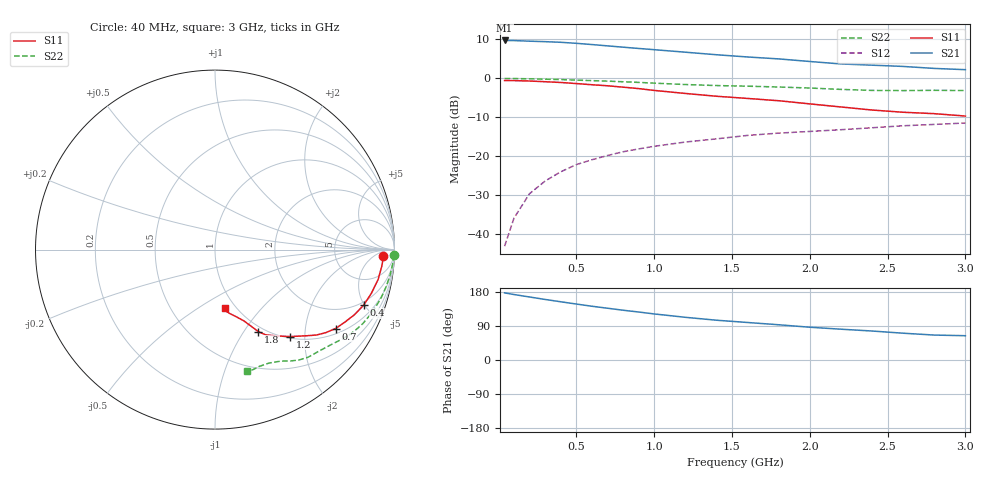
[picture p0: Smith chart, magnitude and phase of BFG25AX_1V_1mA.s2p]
! Filename:  BFG25AXD.S2P  Version:  2.0
! Philips part #: BFG25A/X  Date: May 1990
! Bias condition: Vce=1V, Ic=1mA
#  MHz  S  MA  R  50
! Freq  S11  S21  S12  S22  !GUM [dB]
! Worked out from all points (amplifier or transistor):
!   21 points, 40 MHz to 3 GHz, reference 50 ohm
!   highest |S21| = 9.7 dB at 40 MHz (marker M1)
!   |S21| within 3 dB of that: start of sweep to 1.196 GHz
!   unconditionally stable (mu >= 1): nowhere
!   at 300 MHz: K = 0.14, MSG = 17.9 dB, |S12| = -26.4 dB
!   at 1 GHz: K = 0.43, MSG = 12.4 dB, |S12| = -17.5 dB
!   at 3 GHz: K = 0.87, MSG = 6.8 dB, |S12| = -11.5 dB
!   lowest NFmin = 1.70 dB at 500 MHz
!   S11 on the Smith chart (normalised r, x): 40 MHz: 23, -14; 400 MHz: 1.74, -4.97; 700 MHz: 1.18, -2.92; 1.2 GHz: 1.03, -1.69; 1.8 GHz: 0.93, -1.16; 3 GHz: 0.90, -0.65
40  0.938 -2.2  3.065 177.1  0.007 85.2  0.995 -1.7
100  0.935 -5.3  3.055 172.8  0.016 86.6  0.994 -4.2
200  0.924 -10.4  3 166.3  0.033 82.5  0.986 -8.3
300  0.905 -15.5  2.958 159.8  0.048 79.7  0.975 -12.4
400  0.885 -20.4  2.903 153.7  0.063 76.2  0.964 -16.2
500  0.857 -25.1  2.817 147.7  0.078 73.5  0.949 -20.0
600  0.828 -29.3  2.717 141.9  0.09 71.3  0.935 -23.4
700  0.803 -33.2  2.613 136.7  0.102 69.1  0.921 -26.6
800  0.771 -36.9  2.513 131.4  0.114 67.2  0.904 -29.5
900  0.739 -40.1  2.421 126.7  0.124 65.2  0.887 -32.3
1000  0.7 -43.3  2.334 121.6  0.134 62.9  0.868 -34.9
1200  0.64 -49.2  2.167 112.7  0.152 59.0  0.833 -39.8
1400  0.589 -54.7  2.01 105.0  0.167 56.8  0.808 -44.7
1600  0.552 -59.3  1.881 99.0  0.185 54.5  0.793 -49.1
1800  0.516 -62.2  1.777 93.0  0.198 52.5  0.774 -52.5
2000  0.47 -64.9  1.646 86.5  0.208 50.4  0.751 -55.7
2200  0.429 -67.9  1.53 81.3  0.219 48.6  0.721 -59.5
2400  0.392 -72.5  1.476 76.5  0.232 45.8  0.7 -64.6
2600  0.367 -76.7  1.422 70.7  0.246 43.5  0.696 -69.3
2800  0.352 -79.3  1.341 65.8  0.256 42.2  0.702 -72.7
3000  0.328 -80.1  1.292 64.1  0.267 42.0  0.697 -75.3
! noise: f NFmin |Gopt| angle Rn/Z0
500  1.7  0.85  5  2.4
1000  1.8  0.78  14  2.6
2000  2.2  0.72  38  1.9
